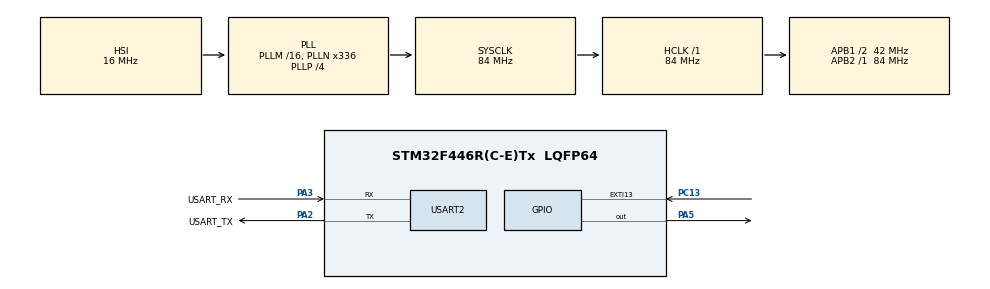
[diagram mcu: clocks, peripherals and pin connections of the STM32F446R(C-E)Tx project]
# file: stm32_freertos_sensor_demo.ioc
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ADC1.Channel-0\#ChannelRegularConversion=ADC_CHANNEL_TEMPSENSOR
ADC1.NbrOfConversionFlag=1
ADC1.Rank-0\#ChannelRegularConversion=1
ADC1.SamplingTime-0\#ChannelRegularConversion=ADC_SAMPLETIME_3CYCLES
ADC1.master=1
Dma.Request0=USART2_TX
Dma.USART2_TX.0.Direction=DMA_MEMORY_TO_PERIPH
Dma.USART2_TX.0.FIFOMode=DMA_FIFOMODE_DISABLE
Dma.USART2_TX.0.Instance=DMA1_Stream6
Dma.USART2_TX.0.MemDataAlignment=DMA_MDATAALIGN_BYTE
Dma.USART2_TX.0.MemInc=DMA_MINC_ENABLE
Dma.USART2_TX.0.Mode=DMA_NORMAL
Dma.USART2_TX.0.PeriphDataAlignment=DMA_PDATAALIGN_BYTE
Dma.USART2_TX.0.PeriphInc=DMA_PINC_DISABLE
Dma.USART2_TX.0.Priority=DMA_PRIORITY_LOW
FREERTOS.BinarySemaphores01=buttonSem,Dynamic,NULL,Available
FREERTOS.CountingSemaphores01=buttonCountSem,10,Dynamic,NULL,0
FREERTOS.Mutexes01=uartMutex,Dynamic,NULL,Available
FREERTOS.Queues01=tempQueue,8,int32_t,0,Dynamic,NULL,NULL
FREERTOS.Tasks01=blinkTask,8,512,StartBlinkTask,Default,NULL,Dynamic,NULL,NULL;sensorTask,8,512,StartSensorTask,Default,NULL,Dynamic,NULL,NULL;printTask,8,512,StartPrintTask,Default,NULL,Dynamic,NULL,NULL;buttonTask,24,512,StartButtonTask,Default,NULL,Dynamic,NULL,NULL;logTask,8,256,StartLogTask,Default,NULL,Dynamic,NULL,NULL;wdgTask,32,512,StartWdgTask,Default,NULL,Dynamic,NULL,NULL
FREERTOS.configCHECK_FOR_STACK_OVERFLOW=2
FREERTOS.configUSE_NEWLIB_REENTRANT=1
IWDG.Prescaler=IWDG_PRESCALER_32
IWDG.Reload=4000
Mcu.Family=STM32F4
Mcu.Name=STM32F446R(C-E)Tx
Mcu.Package=LQFP64
NUCLEO-F446RE.BUTTON=1
NUCLEO-F446RE.LD1=true
NVIC.DMA1_Stream6_IRQn=true\:5\:0\:false\:false\:true\:true\:false\:true\:true
NVIC.EXTI15_10_IRQn=true\:5\:0\:false\:false\:true\:true\:false\:true\:true
NVIC.PriorityGroup=NVIC_PRIORITYGROUP_4
NVIC.TIM6_DAC_IRQn=true\:15\:0\:false\:false\:true\:false\:false\:true\:true
NVIC.TimeBase=TIM6_DAC_IRQn
NVIC.TimeBaseIP=TIM6
NVIC.USART2_IRQn=true\:5\:0\:false\:false\:true\:true\:true\:true\:true
PA13.GPIO_Label=TMS
PA13.Signal=SYS_JTMS-SWDIO
PA14.GPIO_Label=TCK
PA14.Signal=SYS_JTCK-SWCLK
PA2.GPIO_Label=USART_TX
PA2.Mode=Asynchronous
PA2.Signal=USART2_TX
PA3.GPIO_Label=USART_RX
PA3.Mode=Asynchronous
PA3.Signal=USART2_RX
PA5.Signal=GPIO_Output
PB3.GPIO_Label=SWO
PB3.Signal=SYS_JTDO-SWO
PC13.Signal=GPXTI13
PC14-OSC32_IN.Signal=RCC_OSC32_IN
PC15-OSC32_OUT.Signal=RCC_OSC32_OUT
PH0-OSC_IN.Signal=RCC_OSC_IN
PH1-OSC_OUT.Signal=RCC_OSC_OUT
ProjectManager.HeapSize=0x200
ProjectManager.StackSize=0x400
ProjectManager.TargetToolchain=STM32CubeIDE
RCC.AHBFreq_Value=84000000
RCC.APB1CLKDivider=RCC_HCLK_DIV2
RCC.APB1Freq_Value=42000000
RCC.APB1TimFreq_Value=84000000
RCC.APB2Freq_Value=84000000
RCC.APB2TimFreq_Value=84000000
RCC.CortexFreq_Value=84000000
RCC.FLatency-AdvancedSettings=FLASH_LATENCY_2
RCC.HCLKFreq_Value=84000000
RCC.HSE_VALUE=8000000
RCC.HSI_VALUE=16000000
RCC.LSE_VALUE=32768
RCC.PLLN=336
RCC.PLLP=RCC_PLLP_DIV4
RCC.SYSCLKFreq_VALUE=84000000
RCC.SYSCLKSource=RCC_SYSCLKSOURCE_PLLCLK
RCC.USBFreq_Value=168000000
RCC.VCOOutputFreq_Value=336000000
USART2.VirtualMode=VM_ASYNC
VP_ADC1_TempSens_Input.Mode=IN-TempSens
VP_FREERTOS_VS_CMSIS_V2.Mode=CMSIS_V2
VP_IWDG_VS_IWDG.Mode=IWDG_Activate
VP_NUCLEO-F446RE_VS_BSP_COMMON.Mode=COMMON
VP_SYS_VS_tim6.Mode=TIM6
board=NUCLEO-F446RE

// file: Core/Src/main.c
/* USER CODE BEGIN Header */
/**
  ******************************************************************************
  * @file           : main.c
  * @brief          : Main program body
  ******************************************************************************
  * @attention
  *
  * Copyright (c) 2026 STMicroelectronics.
  * All rights reserved.
  *
  * This software is licensed under terms that can be found in the LICENSE file
  * in the root directory of this software component.
  * If no LICENSE file comes with this software, it is provided AS-IS.
  *
  ******************************************************************************
  */
/* USER CODE END Header */
#include "main.h"
#include "cmsis_os.h"

/* USER CODE BEGIN Includes */
#include <stdio.h>
#include <stdarg.h>
#include <string.h>
/* USER CODE END Includes */

/* USER CODE BEGIN PD */
#define USE_UART_MUTEX  1   // set to 0 to observe skipped sequence numbers without the mutex
#define BUTTON_SYNC 0	// 0: binary sem, 1: counting sem, 2: CMSIS thread flags, 3: native task notification
#define STACK_OVERFLOW_TEST  0   // 1: blinkTask allocates a large local array to overflow its stack
#define USE_GATEKEEPER  1   // 0: tasks print directly (blocking UART + mutex), 1: log queue + gatekeeper task with UART DMA
#define LOG_MSG_LEN     64
#define FLAG_TX_DONE    0x01
#define WDG_FAULT_TEST  0   // 1: sensorTask hangs after 10 readings
#define ALIVE_BLINK   0x01U
#define ALIVE_SENSOR  0x02U
#define ALIVE_PRINT   0x04U
#define ALIVE_ALL     (ALIVE_BLINK | ALIVE_SENSOR | ALIVE_PRINT)

#if (BUTTON_SYNC < 0) || (BUTTON_SYNC > 3)
#error "BUTTON_SYNC must be 0..3"
#endif

#if USE_UART_MUTEX
#define UART_LOCK()    osMutexAcquire(uartMutexHandle, osWaitForever)
#define UART_UNLOCK()  osMutexRelease(uartMutexHandle)
#else
#define UART_LOCK()
#define UART_UNLOCK()
#endif
/* USER CODE END PD */

ADC_HandleTypeDef hadc1;

IWDG_HandleTypeDef hiwdg;

UART_HandleTypeDef huart2;
DMA_HandleTypeDef hdma_usart2_tx;

/* Definitions for blinkTask */
osThreadId_t blinkTaskHandle;
const osThreadAttr_t blinkTask_attributes = {
  .name = "blinkTask",
  .stack_size = 512 * 4,
  .priority = (osPriority_t) osPriorityLow,
};
/* Definitions for sensorTask */
osThreadId_t sensorTaskHandle;
const osThreadAttr_t sensorTask_attributes = {
  .name = "sensorTask",
  .stack_size = 512 * 4,
  .priority = (osPriority_t) osPriorityLow,
};
/* Definitions for printTask */
osThreadId_t printTaskHandle;
const osThreadAttr_t printTask_attributes = {
  .name = "printTask",
  .stack_size = 512 * 4,
  .priority = (osPriority_t) osPriorityLow,
};
/* Definitions for buttonTask */
osThreadId_t buttonTaskHandle;
const osThreadAttr_t buttonTask_attributes = {
  .name = "buttonTask",
  .stack_size = 512 * 4,
  .priority = (osPriority_t) osPriorityNormal,
};
/* Definitions for logTask */
osThreadId_t logTaskHandle;
const osThreadAttr_t logTask_attributes = {
  .name = "logTask",
  .stack_size = 256 * 4,
  .priority = (osPriority_t) osPriorityLow,
};
/* Definitions for wdgTask */
osThreadId_t wdgTaskHandle;
const osThreadAttr_t wdgTask_attributes = {
  .name = "wdgTask",
  .stack_size = 512 * 4,
  .priority = (osPriority_t) osPriorityAboveNormal,
};
/* Definitions for tempQueue */
osMessageQueueId_t tempQueueHandle;
const osMessageQueueAttr_t tempQueue_attributes = {
  .name = "tempQueue"
};
/* Definitions for uartMutex */
osMutexId_t uartMutexHandle;
const osMutexAttr_t uartMutex_attributes = {
  .name = "uartMutex"
};
/* Definitions for buttonSem */
osSemaphoreId_t buttonSemHandle;
const osSemaphoreAttr_t buttonSem_attributes = {
  .name = "buttonSem"
};
/* Definitions for buttonCountSem */
osSemaphoreId_t buttonCountSemHandle;
const osSemaphoreAttr_t buttonCountSem_attributes = {
  .name = "buttonCountSem"
};
/* USER CODE BEGIN PV */
osMessageQueueId_t logQueueHandle;
osEventFlagsId_t aliveFlagsHandle;
volatile uint32_t log_dropped = 0;
volatile uint32_t blink_log_max_us = 0;
__attribute__((section(".noinit"))) volatile uint32_t wdg_magic;
__attribute__((section(".noinit"))) volatile uint32_t wdg_missing;
/* USER CODE END PV */

void SystemClock_Config(void);
static void MX_GPIO_Init(void);
static void MX_DMA_Init(void);
static void MX_ADC1_Init(void);
static void MX_USART2_UART_Init(void);
static void MX_IWDG_Init(void);
void StartBlinkTask(void *argument);
void StartSensorTask(void *argument);
void StartPrintTask(void *argument);
void StartButtonTask(void *argument);
void StartLogTask(void *argument);
void StartWdgTask(void *argument);

/* USER CODE BEGIN 0 */
#include <stdio.h>
#include "task.h"

int _write(int file, char *ptr, int len)
{
	HAL_UART_Transmit(&huart2, (uint8_t *)ptr, len, 100);
	return len;
}

static void log_vprintf(uint32_t timeout, const char *fmt, va_list ap)
{
  char msg[LOG_MSG_LEN];
  vsnprintf(msg, sizeof(msg), fmt, ap);
  if (osMessageQueuePut(logQueueHandle, msg, 0, timeout) != osOK)
  {
    log_dropped++;
  }
}

void log_printf(const char *fmt, ...)            /* drop if full */
{
  va_list ap;
  va_start(ap, fmt);
  log_vprintf(0, fmt, ap);
  va_end(ap);
}

void log_printf_wait(uint32_t timeout, const char *fmt, ...)  /* wait up to timeout */
{
  va_list ap;
  va_start(ap, fmt);
  log_vprintf(timeout, fmt, ap);
  va_end(ap);
}

#if USE_GATEKEEPER
#define LOG(...)            log_printf(__VA_ARGS__)
#define LOG_IMPORTANT(...)  log_printf_wait(100, __VA_ARGS__)
#else
#define LOG(...)            do { UART_LOCK(); printf(__VA_ARGS__); UART_UNLOCK(); } while (0)
#define LOG_IMPORTANT(...)  LOG(__VA_ARGS__)
#endif

#define WDG_INFO_MAGIC  0xDEAD0000U

static void wdg_info_save(uint32_t missing)
{
  /* 1) RTC backup register */
  __HAL_RCC_PWR_CLK_ENABLE();
  HAL_PWR_EnableBkUpAccess();
  RTC->BKP0R = WDG_INFO_MAGIC | (missing & 0xFFFFU);

  /* 2) .noinit RAM */
  wdg_magic   = WDG_INFO_MAGIC;
  wdg_missing = missing;
}

static uint32_t wdg_info_load(void)
{
  return RTC->BKP0R;
}

static void wdg_info_clear(void)
{
  __HAL_RCC_PWR_CLK_ENABLE();
  HAL_PWR_EnableBkUpAccess();
  RTC->BKP0R = 0;
}
/* USER CODE END 0 */

int main(void)
{

  /* MCU Configuration--------------------------------------------------------*/

  /* Reset of all peripherals, Initializes the Flash interface and the Systick. */
  HAL_Init();

  /* Configure the system clock */
  SystemClock_Config();

  /* Initialize all configured peripherals */
  MX_GPIO_Init();
  MX_DMA_Init();
  MX_ADC1_Init();
  MX_USART2_UART_Init();
  MX_IWDG_Init();
  /* USER CODE BEGIN 2 */
  CoreDebug->DEMCR |= CoreDebug_DEMCR_TRCENA_Msk;
  DWT->CYCCNT = 0;
  DWT->CTRL |= DWT_CTRL_CYCCNTENA_Msk;

  if (__HAL_RCC_GET_FLAG(RCC_FLAG_IWDGRST))
  {
    printf("\r\n*** Reset cause: IWDG ***\r\n");

    uint32_t bkp = RTC->BKP0R;
    if ((bkp & 0xFFFF0000U) == WDG_INFO_MAGIC)
      printf("*** [BKP]    last missing 0x%02lx ***\r\n", bkp & 0xFFFFU);
    else
      printf("*** [BKP]    no valid info ***\r\n");

    if (wdg_magic == WDG_INFO_MAGIC)
      printf("*** [noinit] last missing 0x%02lx ***\r\n", wdg_missing);
    else
      printf("*** [noinit] no valid info ***\r\n");
  }
  else
  {
    printf("\r\n*** Reset cause: power-on / pin ***\r\n");
  }

  /* clear both */
  __HAL_RCC_PWR_CLK_ENABLE();
  HAL_PWR_EnableBkUpAccess();
  RTC->BKP0R = 0;
  wdg_magic = 0;
  __HAL_RCC_CLEAR_RESET_FLAGS();

  __HAL_DBGMCU_FREEZE_IWDG();   // stop IWDG while the core is halted by the debugger
  /* USER CODE END 2 */

  /* Init scheduler */
  osKernelInitialize();
  /* Create the mutex(es) */
  /* creation of uartMutex */
  uartMutexHandle = osMutexNew(&uartMutex_attributes);

  /* Create the semaphores(s) */
  /* creation of buttonSem */
  buttonSemHandle = osSemaphoreNew(1, 1, &buttonSem_attributes);

  /* creation of buttonCountSem */
  buttonCountSemHandle = osSemaphoreNew(10, 0, &buttonCountSem_attributes);

  /* Create the queue(s) */
  /* creation of tempQueue */
  tempQueueHandle = osMessageQueueNew (8, sizeof(int32_t), &tempQueue_attributes);

  /* USER CODE BEGIN RTOS_QUEUES */
  /* add queues, ... */
  logQueueHandle = osMessageQueueNew(16, LOG_MSG_LEN, NULL);
  /* USER CODE END RTOS_QUEUES */

  /* Create the thread(s) */
  /* creation of blinkTask */
  blinkTaskHandle = osThreadNew(StartBlinkTask, NULL, &blinkTask_attributes);

  /* creation of sensorTask */
  sensorTaskHandle = osThreadNew(StartSensorTask, NULL, &sensorTask_attributes);

  /* creation of printTask */
  printTaskHandle = osThreadNew(StartPrintTask, NULL, &printTask_attributes);

  /* creation of buttonTask */
  buttonTaskHandle = osThreadNew(StartButtonTask, NULL, &buttonTask_attributes);

  /* creation of logTask */
  logTaskHandle = osThreadNew(StartLogTask, NULL, &logTask_attributes);

  /* creation of wdgTask */
  wdgTaskHandle = osThreadNew(StartWdgTask, NULL, &wdgTask_attributes);

  /* USER CODE BEGIN RTOS_EVENTS */
  /* add events, ... */
  aliveFlagsHandle = osEventFlagsNew(NULL);
  if (aliveFlagsHandle == NULL) { Error_Handler(); }
  /* USER CODE END RTOS_EVENTS */

  /* Initialize leds */
  BSP_LED_Init(LED2);

  /* Initialize USER push-button, will be used to trigger an interrupt each time it's pressed.*/
  BSP_PB_Init(BUTTON_USER, BUTTON_MODE_EXTI);

  /* Start scheduler */
  osKernelStart();

  /* We should never get here as control is now taken by the scheduler */

  /* Infinite loop */
  while (1)
  {

  }
}

void SystemClock_Config(void)
{
  RCC_OscInitTypeDef RCC_OscInitStruct = {0};
  RCC_ClkInitTypeDef RCC_ClkInitStruct = {0};

  /** Configure the main internal regulator output voltage
  */
  __HAL_RCC_PWR_CLK_ENABLE();
  __HAL_PWR_VOLTAGESCALING_CONFIG(PWR_REGULATOR_VOLTAGE_SCALE3);

  /** Initializes the RCC Oscillators according to the specified parameters
  * in the RCC_OscInitTypeDef structure.
  */
  RCC_OscInitStruct.OscillatorType = RCC_OSCILLATORTYPE_HSI|RCC_OSCILLATORTYPE_LSI;
  RCC_OscInitStruct.HSIState = RCC_HSI_ON;
  RCC_OscInitStruct.HSICalibrationValue = RCC_HSICALIBRATION_DEFAULT;
  RCC_OscInitStruct.LSIState = RCC_LSI_ON;
  RCC_OscInitStruct.PLL.PLLState = RCC_PLL_ON;
  RCC_OscInitStruct.PLL.PLLSource = RCC_PLLSOURCE_HSI;
  RCC_OscInitStruct.PLL.PLLM = 16;
  RCC_OscInitStruct.PLL.PLLN = 336;
  RCC_OscInitStruct.PLL.PLLP = RCC_PLLP_DIV4;
  RCC_OscInitStruct.PLL.PLLQ = 2;
  RCC_OscInitStruct.PLL.PLLR = 2;
  if (HAL_RCC_OscConfig(&RCC_OscInitStruct) != HAL_OK)
  {
    Error_Handler();
  }

  /** Initializes the CPU, AHB and APB buses clocks
  */
  RCC_ClkInitStruct.ClockType = RCC_CLOCKTYPE_HCLK|RCC_CLOCKTYPE_SYSCLK
                              |RCC_CLOCKTYPE_PCLK1|RCC_CLOCKTYPE_PCLK2;
  RCC_ClkInitStruct.SYSCLKSource = RCC_SYSCLKSOURCE_PLLCLK;
  RCC_ClkInitStruct.AHBCLKDivider = RCC_SYSCLK_DIV1;
  RCC_ClkInitStruct.APB1CLKDivider = RCC_HCLK_DIV2;
  RCC_ClkInitStruct.APB2CLKDivider = RCC_HCLK_DIV1;

  if (HAL_RCC_ClockConfig(&RCC_ClkInitStruct, FLASH_LATENCY_2) != HAL_OK)
  {
    Error_Handler();
  }
}

static void MX_ADC1_Init(void)
{

  ADC_ChannelConfTypeDef sConfig = {0};

  /** Configure the global features of the ADC (Clock, Resolution, Data Alignment and number of conversion)
  */
  hadc1.Instance = ADC1;
  hadc1.Init.ClockPrescaler = ADC_CLOCK_SYNC_PCLK_DIV4;
  hadc1.Init.Resolution = ADC_RESOLUTION_12B;
  hadc1.Init.ScanConvMode = DISABLE;
  hadc1.Init.ContinuousConvMode = DISABLE;
  hadc1.Init.DiscontinuousConvMode = DISABLE;
  hadc1.Init.ExternalTrigConvEdge = ADC_EXTERNALTRIGCONVEDGE_NONE;
  hadc1.Init.ExternalTrigConv = ADC_SOFTWARE_START;
  hadc1.Init.DataAlign = ADC_DATAALIGN_RIGHT;
  hadc1.Init.NbrOfConversion = 1;
  hadc1.Init.DMAContinuousRequests = DISABLE;
  hadc1.Init.EOCSelection = ADC_EOC_SINGLE_CONV;
  if (HAL_ADC_Init(&hadc1) != HAL_OK)
  {
    Error_Handler();
  }

  /** Configure for the selected ADC regular channel its corresponding rank in the sequencer and its sample time.
  */
  sConfig.Channel = ADC_CHANNEL_TEMPSENSOR;
  sConfig.Rank = 1;
  sConfig.SamplingTime = ADC_SAMPLETIME_3CYCLES;
  if (HAL_ADC_ConfigChannel(&hadc1, &sConfig) != HAL_OK)
  {
    Error_Handler();
  }

}

static void MX_IWDG_Init(void)
{

  hiwdg.Instance = IWDG;
  hiwdg.Init.Prescaler = IWDG_PRESCALER_32;
  hiwdg.Init.Reload = 4000;
  if (HAL_IWDG_Init(&hiwdg) != HAL_OK)
  {
    Error_Handler();
  }

}

static void MX_USART2_UART_Init(void)
{

  huart2.Instance = USART2;
  huart2.Init.BaudRate = 115200;
  huart2.Init.WordLength = UART_WORDLENGTH_8B;
  huart2.Init.StopBits = UART_STOPBITS_1;
  huart2.Init.Parity = UART_PARITY_NONE;
  huart2.Init.Mode = UART_MODE_TX_RX;
  huart2.Init.HwFlowCtl = UART_HWCONTROL_NONE;
  huart2.Init.OverSampling = UART_OVERSAMPLING_16;
  if (HAL_UART_Init(&huart2) != HAL_OK)
  {
    Error_Handler();
  }

}

static void MX_DMA_Init(void)
{

  /* DMA controller clock enable */
  __HAL_RCC_DMA1_CLK_ENABLE();

  /* DMA interrupt init */
  /* DMA1_Stream6_IRQn interrupt configuration */
  HAL_NVIC_SetPriority(DMA1_Stream6_IRQn, 5, 0);
  HAL_NVIC_EnableIRQ(DMA1_Stream6_IRQn);

}

static void MX_GPIO_Init(void)
{

  /* GPIO Ports Clock Enable */
  __HAL_RCC_GPIOC_CLK_ENABLE();
  __HAL_RCC_GPIOH_CLK_ENABLE();
  __HAL_RCC_GPIOA_CLK_ENABLE();
  __HAL_RCC_GPIOB_CLK_ENABLE();

}

/* USER CODE BEGIN 4 */
void HAL_UART_TxCpltCallback(UART_HandleTypeDef *huart)
{
  if (huart == &huart2)
  {
    osThreadFlagsSet(logTaskHandle, FLAG_TX_DONE);
  }
}

void HAL_GPIO_EXTI_Callback(uint16_t GPIO_Pin)
{
	if(GPIO_Pin != USER_BUTTON_PIN)
		return;

#if BUTTON_SYNC == 0
	osSemaphoreRelease(buttonSemHandle);
#elif BUTTON_SYNC == 1
	osSemaphoreRelease(buttonCountSemHandle);
#elif BUTTON_SYNC == 2
	osThreadFlagsSet(buttonTaskHandle, 0x01);
#else
	BaseType_t woken = pdFALSE;
	vTaskNotifyGiveFromISR((TaskHandle_t)buttonTaskHandle, &woken);
	portYIELD_FROM_ISR(woken);
#endif

}
/* USER CODE END 4 */

void StartBlinkTask(void *argument)
{
  /* USER CODE BEGIN 5 */
  /* Infinite loop */
  for(;;)
  {
#if STACK_OVERFLOW_TEST
    volatile uint8_t big[1900];
    for (uint32_t i = 0; i < sizeof(big); i++) big[i] = (uint8_t)i;
#endif

	BSP_LED_Toggle(LED2);

	uint32_t c0 = DWT->CYCCNT;
	LOG("[blink] 0123456789ABCDEFGHIJKLMNOPQRSTUVWXYZ0123456789\r\n");
	uint32_t us = (DWT->CYCCNT - c0) / (SystemCoreClock / 1000000U);
	if (us > blink_log_max_us) blink_log_max_us = us;

	osEventFlagsSet(aliveFlagsHandle, ALIVE_BLINK);

	osDelay(5);
  }
  /* USER CODE END 5 */
}

void StartSensorTask(void *argument)
{
  /* USER CODE BEGIN StartSensorTask */
	int32_t temp_x10;
  /* Infinite loop */
  for(;;)
  {
	  HAL_ADC_Start(&hadc1);
	  if(HAL_ADC_PollForConversion(&hadc1, 10) == HAL_OK)
	  {
		  uint32_t raw = HAL_ADC_GetValue(&hadc1);
		  int32_t mv = (int32_t) (raw * 3300U / 4095U);
		  temp_x10 = (mv - 760) * 4 +250;

	      osMessageQueuePut(tempQueueHandle, &temp_x10, 0, 0);
	      osEventFlagsSet(aliveFlagsHandle, ALIVE_SENSOR);

	#if WDG_FAULT_TEST
	      static uint32_t n = 0;
	      if (++n >= 10)
	      {
	        for (;;) { }   // simulate a hung task
	      }
	#endif
	  }
    osDelay(1000);
  }
  /* USER CODE END StartSensorTask */
}

void StartPrintTask(void *argument)
{
  /* USER CODE BEGIN StartPrintTask */
  /* Infinite loop */
	int32_t t;
	uint32_t seq = 0;
  for(;;)
  {

    if(osMessageQueueGet(tempQueueHandle, &t, NULL, osWaitForever) == osOK)
    {
    	LOG_IMPORTANT("[%lu] temp=%ld.%ld C max_log=%luus drop=%lu\r\n",
            seq++, t / 10, t % 10, blink_log_max_us, log_dropped);

    	osEventFlagsSet(aliveFlagsHandle, ALIVE_PRINT);

        if ((seq % 10) == 0)
        {
          LOG_IMPORTANT("stk free: blink=%lu sens=%lu prt=%lu btn=%lu log=%lu\r\n",
                        osThreadGetStackSpace(blinkTaskHandle),
                        osThreadGetStackSpace(sensorTaskHandle),
                        osThreadGetStackSpace(printTaskHandle),
                        osThreadGetStackSpace(buttonTaskHandle),
                        osThreadGetStackSpace(logTaskHandle));
        }
    }
  }
  /* USER CODE END StartPrintTask */
}

void StartButtonTask(void *argument)
{
  /* USER CODE BEGIN StartButtonTask */
	  uint32_t presses = 0;

#if BUTTON_SYNC == 0
	  	  osSemaphoreAcquire(buttonSemHandle, 0);	//	drain initial token
#endif

	  for(;;)
	  {
#if BUTTON_SYNC == 0
		  osSemaphoreAcquire(buttonSemHandle, osWaitForever);
#elif BUTTON_SYNC == 1
		  osSemaphoreAcquire(buttonCountSemHandle, osWaitForever);
#elif BUTTON_SYNC == 2
		  osThreadFlagsWait(0x01, osFlagsWaitAny, osWaitForever);
#else
		  ulTaskNotifyTake(pdFALSE, portMAX_DELAY);
#endif

	    presses++;

	    LOG_IMPORTANT(">>> button: %lu\r\n", presses);

	    osDelay(2000);   // simulate slow processing
	  }
  /* USER CODE END StartButtonTask */
}

void StartLogTask(void *argument)
{
  /* USER CODE BEGIN StartLogTask */
	#if USE_GATEKEEPER
	  static char buf[LOG_MSG_LEN];
	  for(;;)
	  {
	    osMessageQueueGet(logQueueHandle, buf, NULL, osWaitForever);
	    HAL_UART_Transmit_DMA(&huart2, (uint8_t *)buf, strlen(buf));
	    osThreadFlagsWait(FLAG_TX_DONE, osFlagsWaitAny, osWaitForever);
	  }
	#else
	  osThreadExit();
	#endif
  /* USER CODE END StartLogTask */
}

void StartWdgTask(void *argument)
{
	  /* USER CODE BEGIN StartWdgTask */
	  for(;;)
	  {
	    uint32_t f = osEventFlagsWait(aliveFlagsHandle, ALIVE_ALL, osFlagsWaitAll, 1500);

	    if ((f & osFlagsError) == 0)
	    {
	      HAL_IWDG_Refresh(&hiwdg);          // every monitored task checked in
	    }
	    else
	    {
	      uint32_t got = osEventFlagsGet(aliveFlagsHandle);
	      uint32_t missing = ALIVE_ALL & ~got;
	      wdg_info_save(missing);
	      LOG_IMPORTANT("WDG: missing 0x%02lx\r\n", (unsigned long)missing);
	      osEventFlagsClear(aliveFlagsHandle, ALIVE_ALL);
	    }
	  }
	  /* USER CODE END StartWdgTask */
}

void HAL_TIM_PeriodElapsedCallback(TIM_HandleTypeDef *htim)
{
  if (htim->Instance == TIM6)
  {
    HAL_IncTick();
  }
}

void Error_Handler(void)
{
  __disable_irq();
  while (1)
  {
  }
}

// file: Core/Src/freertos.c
/* USER CODE BEGIN Header */
/**
  ******************************************************************************
  * File Name          : freertos.c
  * Description        : Code for freertos applications
  ******************************************************************************
  * @attention
  *
  * Copyright (c) 2026 STMicroelectronics.
  * All rights reserved.
  *
  * This software is licensed under terms that can be found in the LICENSE file
  * in the root directory of this software component.
  * If no LICENSE file comes with this software, it is provided AS-IS.
  *
  ******************************************************************************
  */
/* USER CODE END Header */

#include "FreeRTOS.h"
#include "task.h"
#include "main.h"

/* USER CODE BEGIN Variables */
volatile const char *stack_overflow_task = NULL;
/* USER CODE END Variables */

/* Hook prototypes */
void vApplicationStackOverflowHook(xTaskHandle xTask, signed char *pcTaskName);

/* USER CODE BEGIN 4 */
void vApplicationStackOverflowHook(xTaskHandle xTask, signed char *pcTaskName)
{
   /* Run time stack overflow checking is performed if
   configCHECK_FOR_STACK_OVERFLOW is defined to 1 or 2. This hook function is
   called if a stack overflow is detected. */
	  (void)xTask;
	  stack_overflow_task = (const char *)pcTaskName;   // inspect with the debugger
	  taskDISABLE_INTERRUPTS();
	  BSP_LED_On(LED2);
	  for (;;) { }
}
/* USER CODE END 4 */
